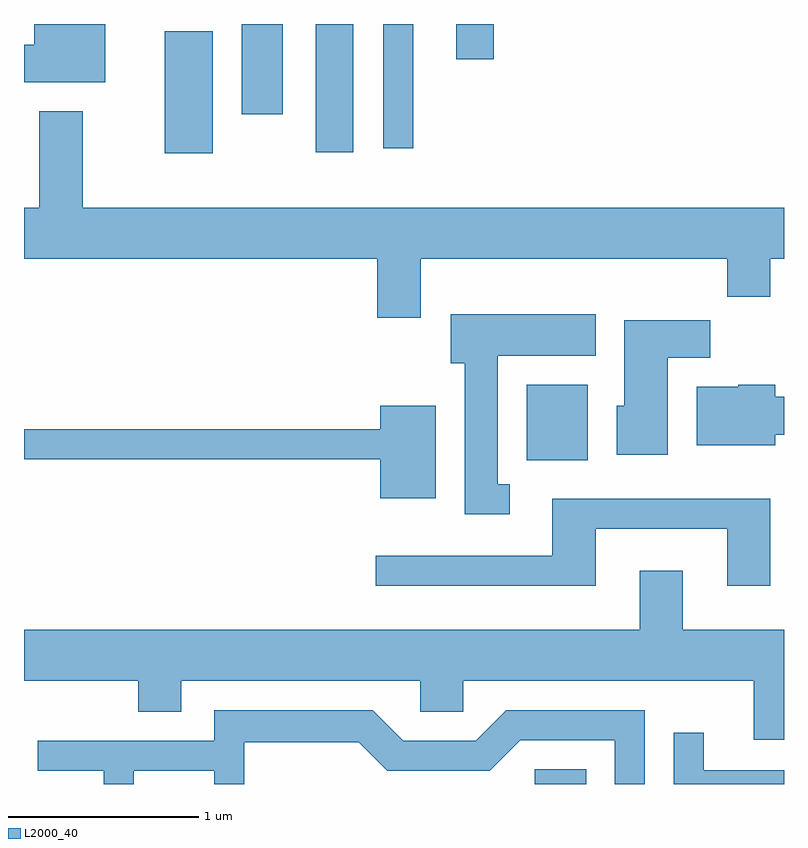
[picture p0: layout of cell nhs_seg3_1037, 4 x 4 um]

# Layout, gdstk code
import gdstk
lib = gdstk.Library(unit=1e-6, precision=1e-09)
def R(c, l, rs):  # rectangles x0, y0, x1, y1
    for r in rs: c.add(gdstk.rectangle(r[:2], r[2:], *l))
def P(c, l, *ps):  # polygons
    for p in ps: c.add(gdstk.Polygon(p, *l))
L2000_40 = (2000, 40)

nhs_seg3_1037 = lib.new_cell('nhs_seg3_1037')
R(nhs_seg3_1037, L2000_40, [(218.298,1149.892,218.569,1149.969), (218.256,1151.596,218.579,1151.994), (216.351,1153.211,216.604,1153.854), (217.146,1153.216,217.344,1153.892), (217.501,1153.238,217.659,1153.892), (216.756,1153.416,216.974,1153.892), (217.886,1153.706,218.084,1153.892)])
P(nhs_seg3_1037, L2000_40, [(216.039,1153.892),(215.666,1153.892),(215.666,1153.784),(215.611,1153.784),(215.611,1153.586),(216.039,1153.586)],
  [(217.699,1152.656),(219.311,1152.656),(219.311,1152.456),(219.539,1152.456),(219.539,1152.656),(219.611,1152.656),(219.611,1152.924),(215.919,1152.924),(215.919,1153.434),(215.691,1153.434),(215.691,1152.924),(215.611,1152.924),(215.611,1152.656),(217.471,1152.656),(217.471,1152.346),(217.699,1152.346)],
  [(218.168,1151.469),(218.104,1151.469),(218.104,1152.146),(218.619,1152.146),(218.619,1152.364),(217.856,1152.364),(217.856,1152.106),(217.931,1152.106),(217.931,1151.311),(218.168,1151.311)],
  [(218.999,1152.136),(219.224,1152.136),(219.224,1152.334),(218.771,1152.334),(218.771,1151.884),(218.731,1151.884),(218.731,1151.626),(218.999,1151.626)],
  [(219.564,1151.731),(219.611,1151.731),(219.611,1151.929),(219.564,1151.929),(219.564,1151.994),(219.37,1151.994),(219.37,1151.984),(219.151,1151.984),(219.151,1151.676),(219.564,1151.676)],
  [(217.779,1151.884),(217.486,1151.884),(217.486,1151.759),(215.611,1151.759),(215.611,1151.601),(217.486,1151.601),(217.486,1151.396),(217.779,1151.396)],
  [(218.619,1151.236),(219.311,1151.236),(219.311,1150.936),(219.539,1150.936),(219.539,1151.394),(218.391,1151.394),(218.391,1151.094),(217.463,1151.094),(217.463,1150.936),(218.619,1150.936)],
  [(219.611,1150.704),(219.079,1150.704),(219.079,1151.014),(218.851,1151.014),(218.851,1150.704),(215.611,1150.704),(215.611,1150.436),(216.211,1150.436),(216.211,1150.271),(216.439,1150.271),(216.439,1150.436),(217.696,1150.436),(217.696,1150.271),(217.924,1150.271),(217.924,1150.436),(219.451,1150.436),(219.451,1150.126),(219.611,1150.126)],
  [(216.189,1149.961),(216.611,1149.961),(216.611,1149.892),(216.769,1149.892),(216.769,1150.111),(217.374,1150.111),(217.524,1149.961),(218.062,1149.961),(218.222,1150.121),(218.721,1150.121),(218.721,1149.892),(218.879,1149.892),(218.879,1150.279),(218.149,1150.279),(217.989,1150.119),(217.607,1150.119),(217.447,1150.279),(216.611,1150.279),(216.611,1150.119),(215.683,1150.119),(215.683,1149.961),(216.031,1149.961),(216.031,1149.892),(216.189,1149.892)],
  [(219.611,1149.964),(219.189,1149.964),(219.189,1150.163),(219.031,1150.163),(219.031,1149.892),(219.611,1149.892)])

lib.write_gds('nhs_seg3_1037.gds')
